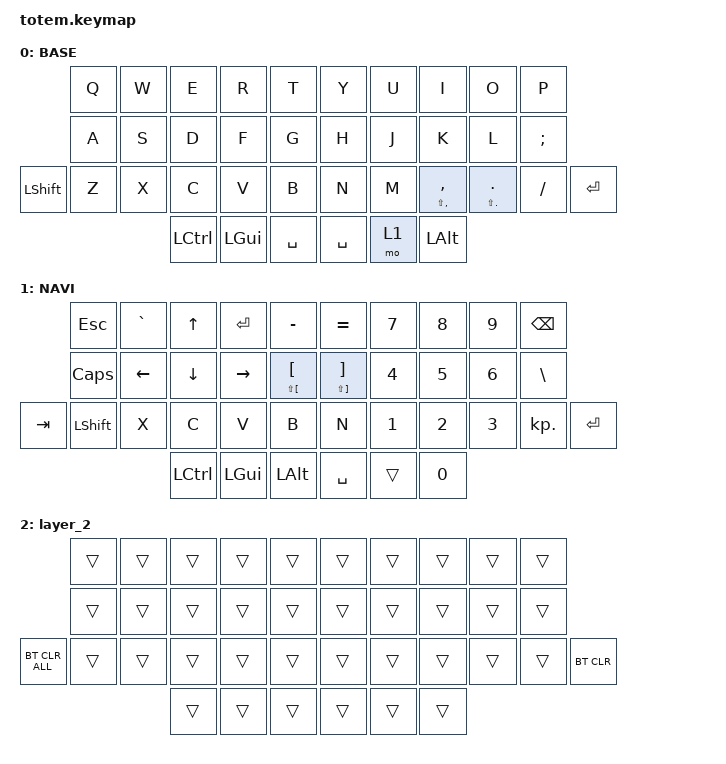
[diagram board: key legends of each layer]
//
//                                                        ▀▀▀▀▀     ▀▀▀▀▀          ▀▀█▀▀
//                                                        ▄▀▀▀▄  ▄  ▄▀▀▀▄  ▄  ▄▀▀▀▄  █  ▄▀▀▀▄
//                                                        █   █  █  █   █  █  █   █  █  █   █
//                                                         ▀▀▀   █   ▀▀▀   █   ▀▀▀   ▀   ▀▀▀
//                                                               █      ▄▄▄█▄▄▄    █   █  
//                                                               ▀      █  █  █     █▄█
//                                                             ▀▀▀▀▀    █  █  █      ▀
//                                                                      ▀  ▀  ▀
//
// ▄▄▄▄▄▄▄▄▄▄▄▄▄▄▄▄▄▄▄▄▄▄▄▄▄▄▄▄▄▄▄▄▄▄▄▄▄▄▄▄▄▄▄▄▄▄▄▄▄▄▄▄▄▄▄▄▄▄▄▄▄▄▄▄▄▄▄▄▄▄▄▄▄▄▄▄▄▄▄▄▄▄▄▄▄▄▄▄▄▄▄▄▄▄▄▄▄▄▄▄▄▄▄▄▄▄▄▄▄▄▄▄▄▄▄▄▄▄▄▄▄▄▄▄▄▄▄▄▄▄▄▄▄▄▄▄▄▄▄▄▄▄▄▄▄▄▄▄▄

#include <behaviors.dtsi>
#include <dt-bindings/zmk/bt.h>
#include <dt-bindings/zmk/keys.h>

#define BASE 0
#define NAV  1
#define SYM  2
#define ADJ  3
#define TVP1 4
#define TVP2 5

&mt {
    quick-tap-ms = <100>;
    global-quick-tap;
    flavor = "tap-preferred";
    tapping-term-ms = <170>;
};

/ {
    combos {
        compatible = "zmk,combos";

        esc {
            timeout-ms = <50>;
            key-positions = <0 10>;
            bindings = <&kp ESC>;
        };

        back {
            timeout-ms = <100>;
            key-positions = <9 19>;
            bindings = <&kp BACKSPACE>;
        };

        tab {
            bindings = <&kp TAB>;
            key-positions = <21 10>;
        };

        mo2 {
            bindings = <&mo 2>;
            key-positions = <32 33 34>;
        };
    };

    macros {
        gif: gif {
            label = "giphy";
            compatible = "zmk,behavior-macro";
            #binding-cells = <0>;
            bindings =
                <&macro_press>,
                <&kp LSHFT>,
                <&macro_tap>,
                <&kp N2>,
                <&macro_release>,
                <&kp LSHFT>,
                <&macro_tap>,
                <&kp G &kp I &kp F>;
        };
    };

    keymap {
        compatible = "zmk,keymap";

        // ▄▄▄▄▄▄▄▄▄▄▄▄▄▄▄▄▄▄▄▄▄▄▄▄▄▄▄▄▄▄▄▄▄▄▄▄▄▄▄▄▄▄▄▄▄▄▄▄▄▄▄▄▄▄▄▄▄▄▄▄▄▄▄▄▄▄▄▄▄▄▄▄▄▄▄▄▄▄▄▄▄▄▄▄▄▄▄▄▄▄▄▄▄▄▄▄▄▄▄▄▄▄▄▄▄▄▄▄▄▄▄▄▄▄▄▄▄▄▄▄▄▄▄▄▄▄▄▄▄▄▄▄▄▄▄▄▄▄▄▄▄▄▄▄▄▄▄▄▄

        base_layer {
            // ┏━━━━━━━━━━━━━━━━━━━━━━━━━━━━━━━━━━━━━━━┓

            label = "BASE";

            // ┗━━━━━━━━━━━━━━━━━━━━━━━━━━━━━━━━━━━━━━━┛
            //             ┏━━━━━━━━━━━┳━━━━━━━━━━━┳━━━━━━━━━━━┳━━━━━━━━━━━┳━━━━━━━━━━━┓   ┏━━━━━━━━━━━┳━━━━━━━━━━━┳━━━━━━━━━━━┳━━━━━━━━━━━┳━━━━━━━━━━━┓
            //             ┃     Q     ┃     W     ┃     F     ┃     P     ┃     G     ┃   ┃     J     ┃     L     ┃     U     ┃     Y     ┃     ;     ┃
            //             ┣━━━━━━━━━━━╋━━━━━━━━━━━╋━━━━━━━━━━━╋━━━━━━━━━━━╋━━━━━━━━━━━┫   ┣━━━━━━━━━━━╋━━━━━━━━━━━╋━━━━━━━━━━━╋━━━━━━━━━━━╋━━━━━━━━━━━┫
            //             ┃     A     ┃     R     ┃     S     ┃     T     ┃     D     ┃   ┃     H     ┃     N     ┃     E     ┃     I     ┃     O     ┃
            // ┏━━━━━━━━━━━╋━━━━━━━━━━━╋━━━━━━━━━━━╋━━━━━━━━━━━╋━━━━━━━━━━━╋━━━━━━━━━━━┫   ┣━━━━━━━━━━━╋━━━━━━━━━━━╋━━━━━━━━━━━╋━━━━━━━━━━━╋━━━━━━━━━━━╋━━━━━━━━━━━┓
            // ┃     Q     ┃     Z     ┃     X     ┃     C     ┃     V     ┃     B     ┃   ┃     K     ┃     M     ┃     ,     ┃     .     ┃     /     ┃     \     ┃
            // ┗━━━━━━━━━━━┻━━━━━━━━━━━┻━━━━━━━━━━━╋━━━━━━━━━━━╋━━━━━━━━━━━╋━━━━━━━━━━━┫   ┣━━━━━━━━━━━╋━━━━━━━━━━━╋━━━━━━━━━━━╋━━━━━━━━━━━┻━━━━━━━━━━━┻━━━━━━━━━━━┛
            //                                     ┃    DEL    ┃    TAB    ┃    SPC    ┃   ┃   ENTER   ┃           ┃   BSPC    ┃
            //                                     ┗━━━━━━━━━━━┻━━━━━━━━━━━┻━━━━━━━━━━━┛   ┗━━━━━━━━━━━┻━━━━━━━━━━━┻━━━━━━━━━━━┛

            bindings = <
            &kp Q  &kp W  &kp E      &kp R     &kp T        &kp Y      &kp U  &kp I                &kp O            &kp P
            &kp A  &kp S  &kp D      &kp F     &kp G        &kp H      &kp J  &kp K                &kp L            &kp SEMICOLON
&kp LSHIFT  &kp Z  &kp X  &kp C      &kp V     &kp B        &kp N      &kp M  &mt LS(COMMA) COMMA  &mt LS(DOT) DOT  &kp SLASH      &kp ENTER
                          &kp LCTRL  &kp LGUI  &kp SPACE    &kp SPACE  &mo 1  &kp LALT
            >;
        };

        // ▄▄▄▄▄▄▄▄▄▄▄▄▄▄▄▄▄▄▄▄▄▄▄▄▄▄▄▄▄▄▄▄▄▄▄▄▄▄▄▄▄▄▄▄▄▄▄▄▄▄▄▄▄▄▄▄▄▄▄▄▄▄▄▄▄▄▄▄▄▄▄▄▄▄▄▄▄▄▄▄▄▄▄▄▄▄▄▄▄▄▄▄▄▄▄▄▄▄▄▄▄▄▄▄▄▄▄▄▄▄▄▄▄▄▄▄▄▄▄▄▄▄▄▄▄▄▄▄▄▄▄▄▄▄▄▄▄▄▄▄▄▄▄▄▄▄▄▄▄

        nav_layer {
            // ┏━━━━━━━━━━━━━━━━━━━━━━━━━━━━━━━━━━━━━━━┓

            label = "NAVI";

            // ┗━━━━━━━━━━━━━━━━━━━━━━━━━━━━━━━━━━━━━━━┛
            //             ┏━━━━━━━━━━━┳━━━━━━━━━━━┳━━━━━━━━━━━┳━━━━━━━━━━━┳━━━━━━━━━━━┓   ┏━━━━━━━━━━━┳━━━━━━━━━━━┳━━━━━━━━━━━┳━━━━━━━━━━━┳━━━━━━━━━━━┓
            //             ┃           ┃           ┃     UP    ┃           ┃     {     ┃   ┃     }     ┃     7     ┃     8     ┃     9     ┃     +     ┃
            //             ┣━━━━━━━━━━━╋━━━━━━━━━━━╋━━━━━━━━━━━╋━━━━━━━━━━━╋━━━━━━━━━━━┫   ┣━━━━━━━━━━━╋━━━━━━━━━━━╋━━━━━━━━━━━╋━━━━━━━━━━━╋━━━━━━━━━━━┫
            //             ┃   SHIFT   ┃   LEFT    ┃    DOWN   ┃   RIGHT   ┃     [     ┃   ┃     ]     ┃     4     ┃     5     ┃     6     ┃     -     ┃
            // ┏━━━━━━━━━━━╋━━━━━━━━━━━╋━━━━━━━━━━━╋━━━━━━━━━━━╋━━━━━━━━━━━╋━━━━━━━━━━━┫   ┣━━━━━━━━━━━╋━━━━━━━━━━━╋━━━━━━━━━━━╋━━━━━━━━━━━╋━━━━━━━━━━━╋━━━━━━━━━━━┓
            // ┃           ┃           ┃   P UP    ┃  C LOCK   ┃  P DOWN   ┃     (     ┃   ┃     )     ┃     1     ┃     2     ┃     3     ┃     *     ┃           ┃
            // ┗━━━━━━━━━━━┻━━━━━━━━━━━┻━━━━━━━━━━━╋━━━━━━━━━━━╋━━━━━━━━━━━╋━━━━━━━━━━━┫   ┣━━━━━━━━━━━╋━━━━━━━━━━━╋━━━━━━━━━━━╋━━━━━━━━━━━┻━━━━━━━━━━━┻━━━━━━━━━━━┛
            //                                     ┃           ┃    TAB    ┃    SPC    ┃   ┃    DEL    ┃     0     ┃           ┃
            //                                     ┗━━━━━━━━━━━┻━━━━━━━━━━━┻━━━━━━━━━━━┛   ┗━━━━━━━━━━━┻━━━━━━━━━━━┻━━━━━━━━━━━┛

            bindings = <
         &kp ESC     &kp GRAVE  &kp UP     &kp ENTER  &kp MINUS            &kp EQUAL          &kp N7  &kp N8  &kp N9  &kp BACKSPACE
         &kp CAPS    &kp LEFT   &kp DOWN   &kp RIGHT  &mt LS(LBKT) LBKT    &mt LS(RBKT) RBKT  &kp N4  &kp N5  &kp N6  &kp BSLH
&kp TAB  &kp LSHIFT  &kp X      &kp C      &kp V      &kp B                &kp N              &kp N1  &kp N2  &kp N3  &kp KP_DOT     &kp ENTER
                                &kp LCTRL  &kp LGUI   &kp LALT             &kp SPACE          &trans  &kp N0
            >;
        };

        layer_2 {
            bindings = <
                &trans  &trans  &trans  &trans  &trans    &trans  &trans  &trans  &trans  &trans
                &trans  &trans  &trans  &trans  &trans    &trans  &trans  &trans  &trans  &trans
&bt BT_CLR_ALL  &trans  &trans  &trans  &trans  &trans    &trans  &trans  &trans  &trans  &trans  &bt BT_CLR
                                &trans  &trans  &trans    &trans  &trans  &trans
            >;
        };

        // ▄▄▄▄▄▄▄▄▄▄▄▄▄▄▄▄▄▄▄▄▄▄▄▄▄▄▄▄▄▄▄▄▄▄▄▄▄▄▄▄▄▄▄▄▄▄▄▄▄▄▄▄▄▄▄▄▄▄▄▄▄▄▄▄▄▄▄▄▄▄▄▄▄▄▄▄▄▄▄▄▄▄▄▄▄▄▄▄▄▄▄▄▄▄▄▄▄▄▄▄▄▄▄▄▄▄▄▄▄▄▄▄▄▄▄▄▄▄▄▄▄▄▄▄▄▄▄▄▄▄▄▄▄▄▄▄▄▄▄▄▄▄▄▄▄▄▄▄▄
        // ▄▄▄▄▄▄▄▄▄▄▄▄▄▄▄▄▄▄▄▄▄▄▄▄▄▄▄▄▄▄▄▄▄▄▄▄▄▄▄▄▄▄▄▄▄▄▄▄▄▄▄▄▄▄▄▄▄▄▄▄▄▄▄▄▄▄▄▄▄▄▄▄▄▄▄▄▄▄▄▄▄▄▄▄▄▄▄▄▄▄▄▄▄▄▄▄▄▄▄▄▄▄▄▄▄▄▄▄▄▄▄▄▄▄▄▄▄▄▄▄▄▄▄▄▄▄▄▄▄▄▄▄▄▄▄▄▄▄▄▄▄▄▄▄▄▄▄▄▄
        // ▄▄▄▄▄▄▄▄▄▄▄▄▄▄▄▄▄▄▄▄▄▄▄▄▄▄▄▄▄▄▄▄▄▄▄▄▄▄▄▄▄▄▄▄▄▄▄▄▄▄▄▄▄▄▄▄▄▄▄▄▄▄▄▄▄▄▄▄▄▄▄▄▄▄▄▄▄▄▄▄▄▄▄▄▄▄▄▄▄▄▄▄▄▄▄▄▄▄▄▄▄▄▄▄▄▄▄▄▄▄▄▄▄▄▄▄▄▄▄▄▄▄▄▄▄▄▄▄▄▄▄▄▄▄▄▄▄▄▄▄▄▄▄▄▄▄▄▄▄
        // ▄▄▄▄▄▄▄▄▄▄▄▄▄▄▄▄▄▄▄▄▄▄▄▄▄▄▄▄▄▄▄▄▄▄▄▄▄▄▄▄▄▄▄▄▄▄▄▄▄▄▄▄▄▄▄▄▄▄▄▄▄▄▄▄▄▄▄▄▄▄▄▄▄▄▄▄▄▄▄▄▄▄▄▄▄▄▄▄▄▄▄▄▄▄▄▄▄▄▄▄▄▄▄▄▄▄▄▄▄▄▄▄▄▄▄▄▄▄▄▄▄▄▄▄▄▄▄▄▄▄▄▄▄▄▄▄▄▄▄▄▄▄▄▄▄▄▄▄▄
    };
};
